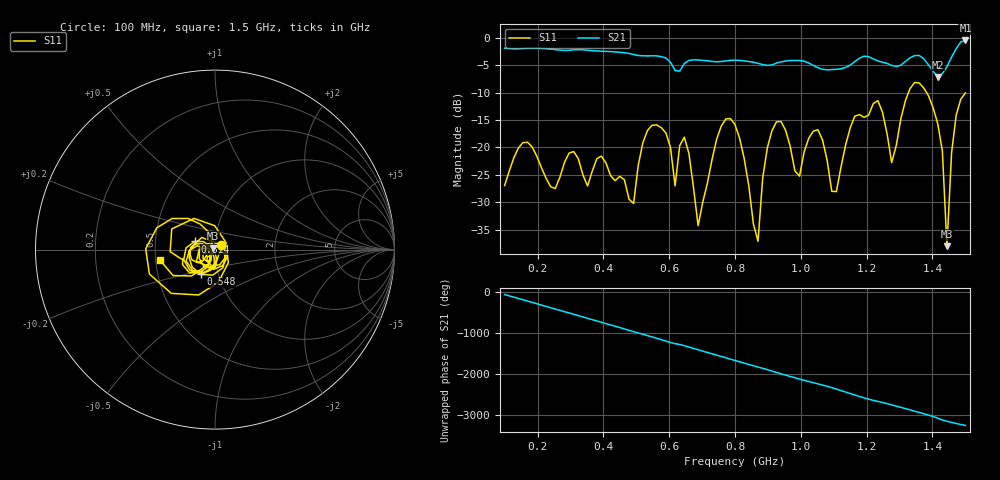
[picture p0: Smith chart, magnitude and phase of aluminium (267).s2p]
! NanoVNA-App
! Date: 2025-09-25 14:57:21
! Start: 100MHz Stop: 1,5GHz Points: 101
! S-Parameter data: F S11 S21 S12 S22
# Hz S RI R 50
!  Frequency  S11_Real  S11_Imag  S21_Real  S21_Imag  S12_Real  S12_Imag  S22_Real  S22_Imag
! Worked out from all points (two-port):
!   101 points, 100 MHz to 1.5 GHz, reference 50 ohm
!   highest |S21| = -0.51 dB at 1.5 GHz (marker M1); lowest = -7.1 dB at 1.416 GHz (marker M2)
!   |S21| within 3 dB of the highest: start of sweep to 578.8 MHz; 1.458 GHz to end of sweep (the widest 2 of 4)
!   lowest |S11| = -38.0 dB at 1.444 GHz (marker M3), VSWR 1.03, Z = 48.9 + j0.65 ohm
!   |S11| at or under -10 dB: start of sweep to 1.327 GHz; 1.382 GHz to end of sweep
!   S12 and S22 are empty: the file has one direction only
!   S11 on the Smith chart (normalised r, x): 100 MHz: 1.07, +0.06; 548 MHz: 0.82, -0.23; 814 MHz: 0.79, +0.07; 1.5 GHz: 0.53, -0.07
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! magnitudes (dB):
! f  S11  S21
! 100 MHz  -27.0  -1.9
! 338 MHz  -25.0  -2.2
! 492 MHz  -30.2  -3.1
! 548 MHz  -16.0  -3.3
! 576 MHz  -16.4  -3.5
! 618 MHz  -27.0  -6.0
! 646 MHz  -18.1  -4.7
! 688 MHz  -34.3  -4.1
! 800 MHz  -15.8  -4.1
! 814 MHz  -18.3  -4.1
! 870 MHz  -37.1  -4.7
! 912 MHz  -17.0  -5.0
! 996 MHz  -25.2  -4.2
! 1.038 GHz  -17.0  -5.1
! 1.108 GHz  -28.1  -5.8
! 1.234 GHz  -11.5  -4.2
! 1.276 GHz  -22.8  -5.0
! 1.346 GHz  -8.2  -3.3
! 1.416 GHz  -15.7  -7.1
! 1.444 GHz  -38.0  -5.3
! 1.458 GHz  -21.0  -3.5
! 1.5 GHz  -10.1  -0.5
